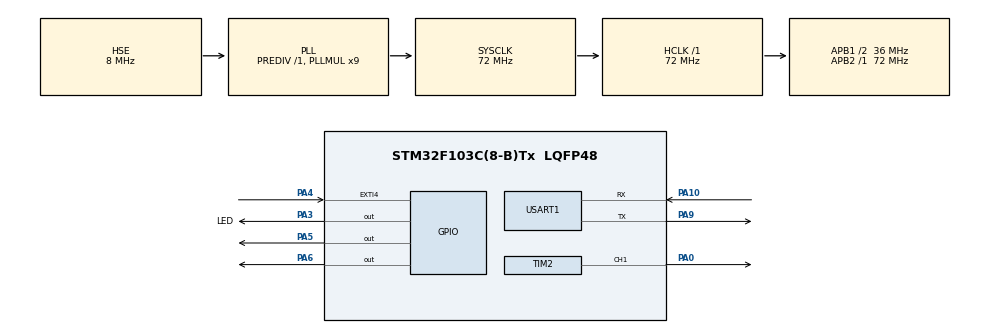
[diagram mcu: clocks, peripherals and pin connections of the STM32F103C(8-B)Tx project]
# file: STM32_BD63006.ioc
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Mcu.Family=STM32F1
Mcu.Name=STM32F103C(8-B)Tx
Mcu.Package=LQFP48
NVIC.EXTI4_IRQn=true\:1\:0\:true\:false\:true\:true\:true\:true
NVIC.PriorityGroup=NVIC_PRIORITYGROUP_4
NVIC.USART1_IRQn=true\:0\:0\:false\:false\:true\:true\:true\:true
PA0-WKUP.Signal=S_TIM2_CH1_ETR
PA10.Mode=Asynchronous
PA10.Signal=USART1_RX
PA13.Mode=Serial_Wire
PA13.Signal=SYS_JTMS-SWDIO
PA14.Mode=Serial_Wire
PA14.Signal=SYS_JTCK-SWCLK
PA3.GPIO_Label=LED
PA3.Signal=GPIO_Output
PA4.GPIO_ModeDefaultEXTI=GPIO_MODE_IT_RISING_FALLING
PA4.Signal=GPXTI4
PA5.Signal=GPIO_Output
PA6.Signal=GPIO_Output
PA9.Mode=Asynchronous
PA9.Signal=USART1_TX
PD0-OSC_IN.Mode=HSE-External-Oscillator
PD0-OSC_IN.Signal=RCC_OSC_IN
PD1-OSC_OUT.Mode=HSE-External-Oscillator
PD1-OSC_OUT.Signal=RCC_OSC_OUT
ProjectManager.HeapSize=0x200
ProjectManager.StackSize=0x400
ProjectManager.TargetToolchain=CMake
RCC.AHBFreq_Value=72000000
RCC.APB1CLKDivider=RCC_HCLK_DIV2
RCC.APB1Freq_Value=36000000
RCC.APB1TimFreq_Value=72000000
RCC.APB2Freq_Value=72000000
RCC.APB2TimFreq_Value=72000000
RCC.HCLKFreq_Value=72000000
RCC.PLLMUL=RCC_PLL_MUL9
RCC.PLLSourceVirtual=RCC_PLLSOURCE_HSE
RCC.SYSCLKFreq_VALUE=72000000
RCC.SYSCLKSource=RCC_SYSCLKSOURCE_PLLCLK
RCC.USBFreq_Value=72000000
SH.S_TIM2_CH1_ETR.0=TIM2_CH1,PWM Generation1 CH1
TIM2.Channel-PWM\ Generation1\ CH1=TIM_CHANNEL_1
TIM2.Period=39
TIM2.Prescaler=71
TIM2.Pulse-PWM\ Generation1\ CH1=20
USART1.VirtualMode=VM_ASYNC
VP_TIM2_VS_ClockSourceINT.Mode=Internal
board=custom

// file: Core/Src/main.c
/* USER CODE BEGIN Header */
/**
  ******************************************************************************
  * @file           : main.c
  * @brief          : Main program body
  ******************************************************************************
  * @attention
  *
  * Copyright (c) 2026 STMicroelectronics.
  * All rights reserved.
  *
  * This software is licensed under terms that can be found in the LICENSE file
  * in the root directory of this software component.
  * If no LICENSE file comes with this software, it is provided AS-IS.
  *
  ******************************************************************************
  */
/* USER CODE END Header */
#include "main.h"
#include "tim.h"
#include "usart.h"
#include "gpio.h"

/* USER CODE BEGIN Includes */
#include "motor.h"
#include <stdint.h>
#include <stdio.h>
/* USER CODE END Includes */

void SystemClock_Config(void);

int main(void)
{

  /* MCU Configuration--------------------------------------------------------*/

  /* Reset of all peripherals, Initializes the Flash interface and the Systick. */
  HAL_Init();

  /* Configure the system clock */
  SystemClock_Config();

  /* Initialize all configured peripherals */
  MX_GPIO_Init();
  MX_TIM2_Init();
  MX_USART1_UART_Init();
  /* USER CODE BEGIN 2 */
  Motor_Init();
  Motor_Start();
  HAL_Delay(2000);

  Motor_Start();
  Motor_SetDirection(MOTOR_DIR_CW);
  Motor_SetSpeed(20);
  /* USER CODE END 2 */

  /* Infinite loop */
  while (1)
  {

    /* USER CODE BEGIN 3 */

    HAL_Delay(50);
    uint32_t cnt = Motor_GetPulseCount();
    Motor_SetPulseCount(0);
    uint32_t speed_out = cnt * MOTOR_FGO_TIME / MOTOR_FGO_PPR;
    printf("cnt: %lu\r\n", speed_out);

  }
  /* USER CODE END 3 */
}

void SystemClock_Config(void)
{
  RCC_OscInitTypeDef RCC_OscInitStruct = {0};
  RCC_ClkInitTypeDef RCC_ClkInitStruct = {0};

  /** Initializes the RCC Oscillators according to the specified parameters
  * in the RCC_OscInitTypeDef structure.
  */
  RCC_OscInitStruct.OscillatorType = RCC_OSCILLATORTYPE_HSE;
  RCC_OscInitStruct.HSEState = RCC_HSE_ON;
  RCC_OscInitStruct.HSEPredivValue = RCC_HSE_PREDIV_DIV1;
  RCC_OscInitStruct.HSIState = RCC_HSI_ON;
  RCC_OscInitStruct.PLL.PLLState = RCC_PLL_ON;
  RCC_OscInitStruct.PLL.PLLSource = RCC_PLLSOURCE_HSE;
  RCC_OscInitStruct.PLL.PLLMUL = RCC_PLL_MUL9;
  if (HAL_RCC_OscConfig(&RCC_OscInitStruct) != HAL_OK)
  {
    Error_Handler();
  }

  /** Initializes the CPU, AHB and APB buses clocks
  */
  RCC_ClkInitStruct.ClockType = RCC_CLOCKTYPE_HCLK|RCC_CLOCKTYPE_SYSCLK
                              |RCC_CLOCKTYPE_PCLK1|RCC_CLOCKTYPE_PCLK2;
  RCC_ClkInitStruct.SYSCLKSource = RCC_SYSCLKSOURCE_PLLCLK;
  RCC_ClkInitStruct.AHBCLKDivider = RCC_SYSCLK_DIV1;
  RCC_ClkInitStruct.APB1CLKDivider = RCC_HCLK_DIV2;
  RCC_ClkInitStruct.APB2CLKDivider = RCC_HCLK_DIV1;

  if (HAL_RCC_ClockConfig(&RCC_ClkInitStruct, FLASH_LATENCY_2) != HAL_OK)
  {
    Error_Handler();
  }
}

/* USER CODE BEGIN 4 */

int __io_putchar(int ch)
{
    HAL_UART_Transmit(&huart1, (uint8_t *)&ch, 1, HAL_MAX_DELAY);
    return ch;
}

void HAL_GPIO_EXTI_Callback(uint16_t GPIO_Pin)
{
    if (GPIO_Pin == GPIO_PIN_4) {
        Motor_PulseCallback();
    }
}

/* USER CODE END 4 */

void Error_Handler(void)
{
  __disable_irq();
  while (1)
  {
  }
}
